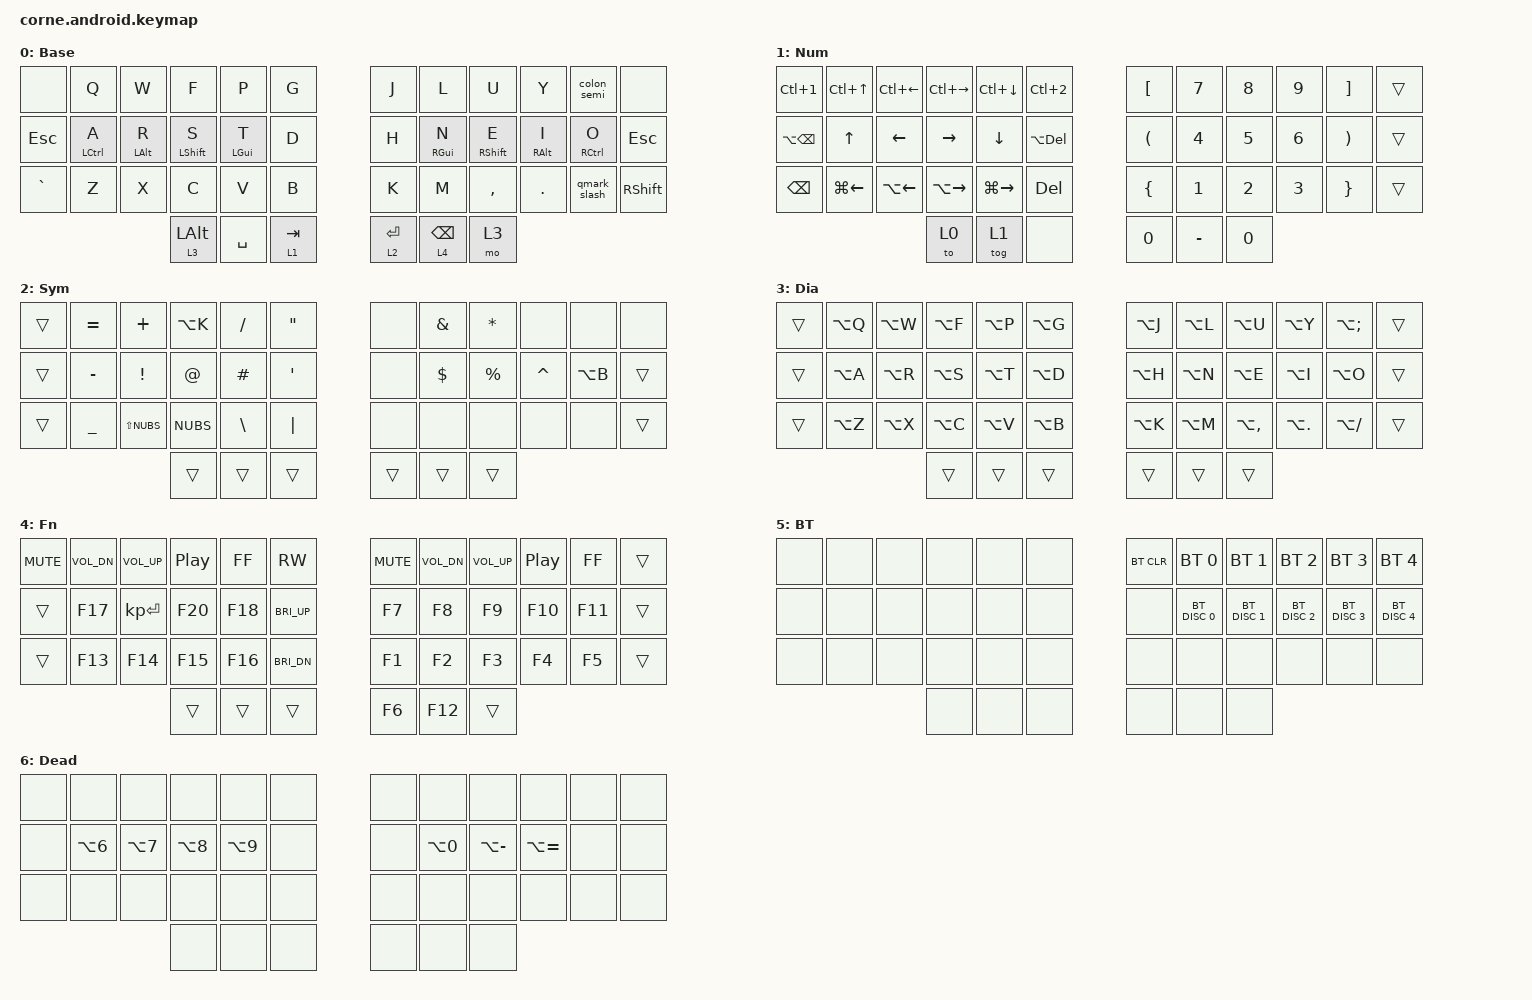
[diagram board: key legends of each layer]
/*
 * Corne Keymap - Converted from Vial v20
 * Layout: Colemak
 * Homerow mods: CASG (Ctrl-Alt-Shift-GUI)
 * Target: android (Ctrl is primary, GUI is secondary)
 */

#include <behaviors.dtsi>
#include <dt-bindings/zmk/keys.h>
#include <dt-bindings/zmk/bt.h>

/ {
    behaviors {
        hm: homerow_mods {
            compatible = "zmk,behavior-hold-tap";
            #binding-cells = <2>;
            tapping-term-ms = <180>;
            quick-tap-ms = <175>;
            require-prior-idle-ms = <150>;
            flavor = "tap-preferred";
            bindings = <&kp>, <&kp>;
        };

        // ? default, / with shift
        qmark_slash: qmark_slash {
            compatible = "zmk,behavior-mod-morph";
            #binding-cells = <0>;
            bindings = <&kp QMARK>, <&kp FSLH>;
            mods = <(MOD_LSFT|MOD_RSFT)>;
        };

        // : default, ; with shift (Vial v20: KC_SCOLON = ; on base)
        colon_semi: colon_semi {
            compatible = "zmk,behavior-mod-morph";
            #binding-cells = <0>;
            bindings = <&kp COLON>, <&kp SEMI>;
            mods = <(MOD_LSFT|MOD_RSFT)>;
        };
    };

    combos {
        compatible = "zmk,combos";

        // Brackets - home row adjacent keys
        combo_lbrc {
            timeout-ms = <50>;
            key-positions = <13 14>;  // A + R
            bindings = <&kp LBRC>;
        };
        combo_lbkt {
            timeout-ms = <50>;
            key-positions = <14 15>;  // R + S
            bindings = <&kp LBKT>;
        };
        combo_lpar {
            timeout-ms = <50>;
            key-positions = <15 16>;  // S + T
            bindings = <&kp LPAR>;
        };
        combo_rpar {
            timeout-ms = <50>;
            key-positions = <19 20>;  // N + E
            bindings = <&kp RPAR>;
        };
        combo_rbkt {
            timeout-ms = <50>;
            key-positions = <20 21>;  // E + I
            bindings = <&kp RBKT>;
        };
        combo_rbrc {
            timeout-ms = <50>;
            key-positions = <21 22>;  // I + O
            bindings = <&kp RBRC>;
        };

        // Utility combos
        combo_bootloader {
            timeout-ms = <50>;
            key-positions = <5 6>;    // G + J (inner index keys)
            bindings = <&bootloader>;
        };
        combo_caps_word {
            timeout-ms = <50>;
            key-positions = <16 19>;  // T + N (index fingers across split)
            bindings = <&caps_word>;
        };
        combo_delete {
            timeout-ms = <50>;
            key-positions = <1 2>;    // Q + W
            bindings = <&kp DEL>;
        };
        combo_caps_lock {
            timeout-ms = <50>;
            key-positions = <24 35>;  // § + RSHIFT (outer pinky keys)
            bindings = <&kp CAPS>;
        };
        combo_layer5 {
            timeout-ms = <50>;
            key-positions = <25 26>;  // Z + X (bottom left)
            bindings = <&sl 5>;       // sticky layer - tap combo, release, tap key
        };
        combo_layer6 {
            timeout-ms = <50>;
            key-positions = <27 28>;  // C + V (bottom left)
            bindings = <&sl 6>;       // sticky layer for dead keys
        };
    };

    keymap {
        compatible = "zmk,keymap";

        // Layer 0: Base (Colemak) - from Vial v20
        // Homerow mods: CASG = A/CTRL, R/ALT, S/SHIFT, T/GUI (mirrored: N/GUI, E/SHIFT, I/ALT, O/CTRL)
        base_layer {
            display-name = "Base";
            bindings = <
   &none       &kp Q          &kp W         &kp F          &kp P         &kp G       &kp J  &kp L         &kp U          &kp Y         &colon_semi    &none
   &kp ESC     &hm LCTRL A    &hm LALT R    &hm LSHFT S    &hm LGUI T    &kp D       &kp H  &hm RGUI N    &hm RSHFT E    &hm RALT I    &hm RCTRL O    &kp ESC
   &kp GRAVE   &kp Z          &kp X         &kp C          &kp V         &kp B       &kp K  &kp M         &kp COMMA      &kp DOT       &qmark_slash   &kp RSHFT
                              &lt 3 LALT    &kp SPACE      &lt 1 TAB     &lt 2 RET  &lt 4 BSPC  &mo 3
            >;
        };

        // Layer 1: Numbers + Navigation (from Vial v20)
        // Left: desktop switching (CTRL+arrows) + arrows + word nav
        // Right: numbers with brackets
        num_layer {
            display-name = "Num";
            bindings = <
   &kp LC(N1)     &kp LC(UP)    &kp LC(LEFT)  &kp LC(RIGHT)  &kp LC(DOWN)   &kp LC(N2)     &kp LBKT  &kp N7  &kp N8  &kp N9  &kp RBKT  &trans
   &kp LA(BSPC)   &kp UP        &kp LEFT      &kp RIGHT      &kp DOWN       &kp LA(DEL)    &kp LPAR  &kp N4  &kp N5  &kp N6  &kp RPAR  &trans
   &kp BSPC       &kp LG(LEFT)  &kp LA(LEFT)  &kp LA(RIGHT)  &kp LG(RIGHT)  &kp DEL        &kp LBRC  &kp N1  &kp N2  &kp N3  &kp RBRC  &trans
                                &to 0         &tog 1         &none          &kp N0         &kp MINUS &kp N0
            >;
        };

        // Layer 2: Symbols (from Vial v20)
        // Left: math operators and quotes
        // Right: shifted numbers (special chars)
        sym_layer {
            display-name = "Sym";
            bindings = <
   &trans  &kp EQUAL  &kp PLUS       &kp LA(K)      &kp FSLH   &kp DQT        &none   &kp AMPS   &kp STAR   &none      &none         &none
   &trans  &kp MINUS  &kp EXCL       &kp AT         &kp HASH   &kp SQT        &none   &kp DLLR   &kp PRCNT  &kp CARET  &kp LA(B)     &trans
   &trans  &kp UNDER  &kp LS(NUBS)   &kp NUBS       &kp BSLH   &kp PIPE       &none   &none      &none      &none      &none         &trans
                                     &trans         &trans     &trans         &trans  &trans     &trans
            >;
        };

        // Layer 3: Diacritics (accessed via left thumb hold)
        // Sends LALT+key - works with macOS keylayout (Option+letter)
        diacritics_layer {
            display-name = "Dia";
            bindings = <
   &trans  &kp LA(Q)  &kp LA(W)  &kp LA(F)  &kp LA(P)  &kp LA(G)      &kp LA(J)  &kp LA(L)  &kp LA(U)      &kp LA(Y)    &kp LA(SEMI)  &trans
   &trans  &kp LA(A)  &kp LA(R)  &kp LA(S)  &kp LA(T)  &kp LA(D)      &kp LA(H)  &kp LA(N)  &kp LA(E)      &kp LA(I)    &kp LA(O)     &trans
   &trans  &kp LA(Z)  &kp LA(X)  &kp LA(C)  &kp LA(V)  &kp LA(B)      &kp LA(K)  &kp LA(M)  &kp LA(COMMA)  &kp LA(DOT)  &kp LA(FSLH)  &trans
                                 &trans     &trans     &trans         &trans     &trans     &trans
            >;
        };

        // Layer 4: Function Keys + Media (from Vial v20)
        // Top row: media controls
        // Home/bottom: F-keys
        fn_layer {
            display-name = "Fn";
            bindings = <
   &kp C_MUTE   &kp C_VOL_DN  &kp C_VOL_UP  &kp C_PP      &kp C_FF      &kp C_RW        &kp C_MUTE  &kp C_VOL_DN  &kp C_VOL_UP  &kp C_PP   &kp C_FF   &trans
   &trans       &kp F17       &kp KP_ENTER  &kp F20       &kp F18       &kp C_BRI_UP    &kp F7      &kp F8        &kp F9        &kp F10    &kp F11    &trans
   &trans       &kp F13       &kp F14       &kp F15       &kp F16       &kp C_BRI_DN    &kp F1      &kp F2        &kp F3        &kp F4     &kp F5     &trans
                                            &trans        &trans        &trans          &kp F6      &kp F12       &trans
            >;
        };

        // Layer 5: Bluetooth (accessed via Z+X combo)
        // Top row: BT_SEL (connect), Home row: BT_DISC (disconnect)
        bt_layer {
            display-name = "BT";
            bindings = <
   &none   &none  &none  &none  &none  &none      &bt BT_CLR   &bt BT_SEL 0   &bt BT_SEL 1   &bt BT_SEL 2   &bt BT_SEL 3   &bt BT_SEL 4
   &none   &none  &none  &none  &none  &none      &none        &bt BT_DISC 0  &bt BT_DISC 1  &bt BT_DISC 2  &bt BT_DISC 3  &bt BT_DISC 4
   &none   &none  &none  &none  &none  &none      &none        &none          &none          &none          &none          &none
                         &none  &none  &none      &none        &none          &none
            >;
        };
        // Layer 6: Dead Keys (combo TBD)
        // Press dead key, release layer, then type base letter
        deadkey_layer {
            display-name = "Dead";
            bindings = <
   &none   &none         &none         &none        &none        &none         &none        &none         &none         &none         &none         &none
   &none   &kp LA(N6)    &kp LA(N7)    &kp LA(N8)   &kp LA(N9)   &none         &none        &kp LA(N0)    &kp LA(MINUS) &kp LA(EQUAL) &none         &none
   &none   &none         &none         &none        &none        &none         &none        &none         &none         &none         &none         &none
                                       &none        &none        &none         &none        &none         &none
            >;
            // Home row: Macron(6) Circumflex(7) Umlaut(8) Caron(9) | Breve(0) Acute(-) Cedilla(=)
        };
        extra7 { status = "reserved"; };
        extra8 { status = "reserved"; };
        extra9 { status = "reserved"; };
    };
};

// Caps word configuration - continues on underscore, minus, backspace, delete
&caps_word {
    continue-list = <UNDERSCORE MINUS BACKSPACE DELETE>;
};
